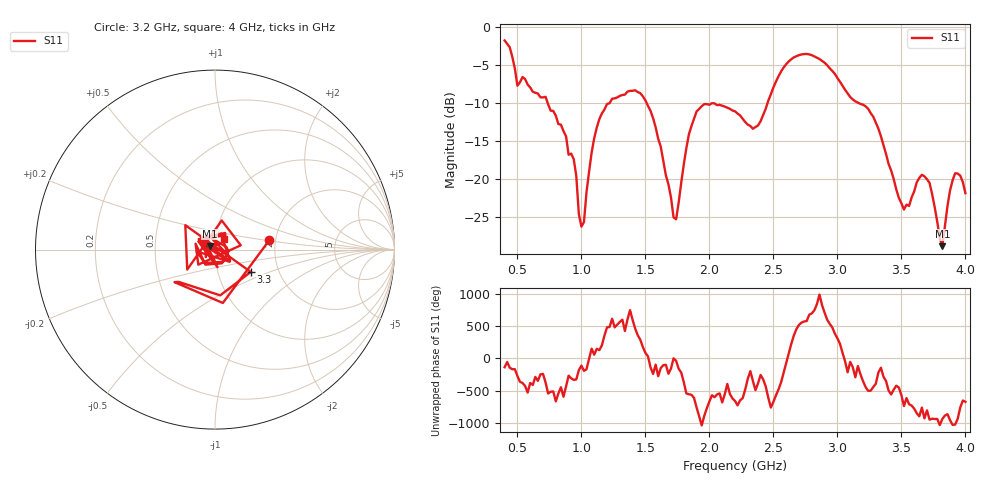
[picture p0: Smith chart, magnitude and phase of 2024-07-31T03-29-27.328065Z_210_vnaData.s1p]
!Created with skrf (http://scikit-rf.org).
# Hz S RI R 50.0
!freq ReS11 ImS11
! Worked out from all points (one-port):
!   181 points, 400 MHz to 4 GHz, reference 50 ohm
!   lowest |S11| = -28.9 dB at 3.82 GHz (marker M1), VSWR 1.07, Z = 47.1 + j1.94 ohm
!   |S11| at or under -10 dB: 736.3 MHz to 1.221 GHz (485 MHz wide, 49.6 % of centre); 1.509 GHz to 2.455 GHz (945.2 MHz wide, 47.7 % of centre); 3.164 GHz to end of sweep
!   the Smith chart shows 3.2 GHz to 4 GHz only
!   S11 on the Smith chart (normalised r, x): 3.2 GHz: 1.85, +0.22; 3.3 GHz: 1.44, -0.38; 4 GHz: 1.10, +0.14
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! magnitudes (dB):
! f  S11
! 400 MHz  -1.8
! 500 MHz  -7.7
! 720 MHz  -9.2
! 860 MHz  -13.7
! 940 MHz  -17.4
! 1 GHz  -26.3
! 1.12 GHz  -13.3
! 1.3 GHz  -9.1
! 1.5 GHz  -9.7
! 1.62 GHz  -15.8
! 1.72 GHz  -25.1
! 1.76 GHz  -23.1
! 1.84 GHz  -14.1
! 1.9 GHz  -11.1
! 2.2 GHz  -11.1
! 2.38 GHz  -13.0
! 2.66 GHz  -4.0
! 2.86 GHz  -4.2
! 3.1 GHz  -9.2
! 3.2 GHz  -10.2
! 3.3 GHz  -12.6
! 3.48 GHz  -22.5
! 3.56 GHz  -23.6
! 3.64 GHz  -19.9
! 3.7 GHz  -20.1
! 3.82 GHz  -28.9
! 3.92 GHz  -19.3
! 4 GHz  -21.9
